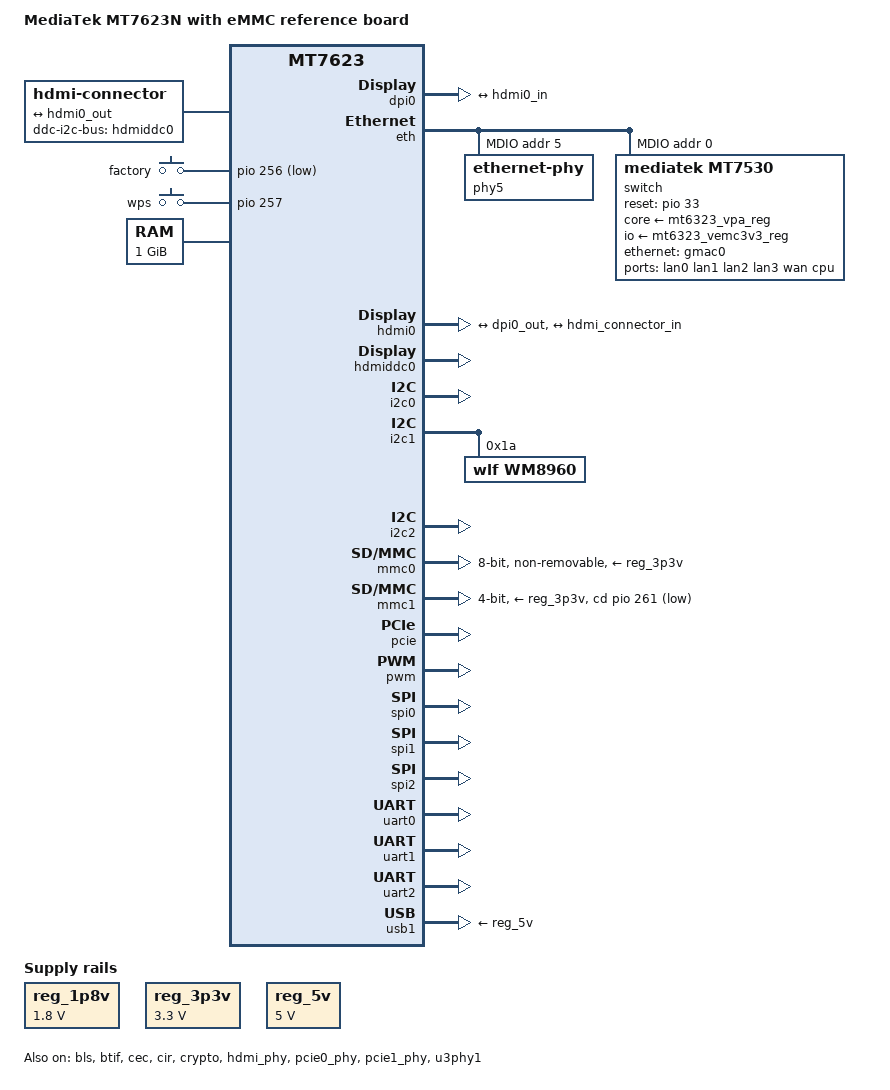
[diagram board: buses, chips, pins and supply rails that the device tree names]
// SPDX-License-Identifier: GPL-2.0
/*
 * Copyright (c) 2017-2018 MediaTek Inc.
 * Author: Sean Wang <sean.wang@mediatek.com>
 *
 */

/dts-v1/;
#include <dt-bindings/input/input.h>
#include "mt7623n.dtsi"
#include "mt6323.dtsi"

/ {
	model = "MediaTek MT7623N with eMMC reference board";
	compatible = "mediatek,mt7623n-rfb-emmc", "mediatek,mt7623";

	aliases {
		serial0 = &uart0;
		serial1 = &uart1;
		serial2 = &uart2;
	};

	chosen {
		stdout-path = "serial2:115200n8";
	};

	connector {
		compatible = "hdmi-connector";
		label = "hdmi";
		type = "d";
		ddc-i2c-bus = <&hdmiddc0>;

		port {
			hdmi_connector_in: endpoint {
				remote-endpoint = <&hdmi0_out>;
			};
		};
	};

	cpus {
		cpu@0 {
			proc-supply = <&mt6323_vproc_reg>;
		};

		cpu@1 {
			proc-supply = <&mt6323_vproc_reg>;
		};

		cpu@2 {
			proc-supply = <&mt6323_vproc_reg>;
		};

		cpu@3 {
			proc-supply = <&mt6323_vproc_reg>;
		};
	};

	gpio-keys {
		compatible = "gpio-keys";
		pinctrl-names = "default";
		pinctrl-0 = <&key_pins_a>;

		button-factory {
			label = "factory";
			linux,code = <BTN_0>;
			gpios = <&pio 256 GPIO_ACTIVE_LOW>;
		};

		button-wps {
			label = "wps";
			linux,code = <KEY_WPS_BUTTON>;
			gpios = <&pio 257 GPIO_ACTIVE_HIGH>;
		};
	};

	memory@80000000 {
		device_type = "memory";
		reg = <0 0x80000000 0 0x40000000>;
	};

	reg_1p8v: regulator-1p8v {
		compatible = "regulator-fixed";
		regulator-name = "fixed-1.8V";
		regulator-min-microvolt = <1800000>;
		regulator-max-microvolt = <1800000>;
		regulator-boot-on;
		regulator-always-on;
	};

	reg_3p3v: regulator-3p3v {
		compatible = "regulator-fixed";
		regulator-name = "fixed-3.3V";
		regulator-min-microvolt = <3300000>;
		regulator-max-microvolt = <3300000>;
		regulator-boot-on;
		regulator-always-on;
	};

	reg_5v: regulator-5v {
		compatible = "regulator-fixed";
		regulator-name = "fixed-5V";
		regulator-min-microvolt = <5000000>;
		regulator-max-microvolt = <5000000>;
		regulator-boot-on;
		regulator-always-on;
	};

	sound {
		compatible = "mediatek,mt2701-wm8960-machine";
		mediatek,platform = <&afe>;
		audio-routing =
			"Headphone", "HP_L",
			"Headphone", "HP_R",
			"LINPUT1", "AMIC",
			"RINPUT1", "AMIC";
		mediatek,audio-codec = <&wm8960>;
		pinctrl-names = "default";
		pinctrl-0 = <&i2s0_pins_a>;
	};
};

&bls {
	status = "okay";
};

&btif {
	status = "okay";
};

&cec {
	status = "okay";
};

&cir {
	pinctrl-names = "default";
	pinctrl-0 = <&cir_pins_a>;
	status = "okay";
};

&crypto {
	status = "okay";
};

&dpi0 {
	status = "okay";

	ports {
		#address-cells = <1>;
		#size-cells = <0>;
		port@0 {
			reg = <0>;
			dpi0_out: endpoint {
				remote-endpoint = <&hdmi0_in>;
			};
		};
	};
};

&eth {
	status = "okay";

	gmac0: mac@0 {
		compatible = "mediatek,eth-mac";
		reg = <0>;
		phy-mode = "trgmii";

		fixed-link {
			speed = <1000>;
			full-duplex;
			pause;
		};
	};

	mac@1 {
		compatible = "mediatek,eth-mac";
		reg = <1>;
		phy-mode = "rgmii";
		phy-handle = <&phy5>;
	};

	mdio-bus {
		#address-cells = <1>;
		#size-cells = <0>;

		phy5: ethernet-phy@5 {
			reg = <5>;
			phy-mode = "rgmii-rxid";
		};

		switch@0 {
			compatible = "mediatek,mt7530";
			reg = <0>;
			reset-gpios = <&pio 33 0>;
			core-supply = <&mt6323_vpa_reg>;
			io-supply = <&mt6323_vemc3v3_reg>;

			ports {
				#address-cells = <1>;
				#size-cells = <0>;

				port@0 {
					reg = <0>;
					label = "lan0";
				};

				port@1 {
					reg = <1>;
					label = "lan1";
				};

				port@2 {
					reg = <2>;
					label = "lan2";
				};

				port@3 {
					reg = <3>;
					label = "lan3";
				};

				port@4 {
					reg = <4>;
					label = "wan";
				};

				port@6 {
					reg = <6>;
					label = "cpu";
					ethernet = <&gmac0>;
					phy-mode = "trgmii";

					fixed-link {
						speed = <1000>;
						full-duplex;
					};
				};
			};
		};
	};
};

&hdmi0 {
	pinctrl-names = "default";
	pinctrl-0 = <&hdmi_pins_a>;
	status = "okay";

	ports {
		#address-cells = <1>;
		#size-cells = <0>;
		port@0 {
			reg = <0>;
			hdmi0_in: endpoint {
				remote-endpoint = <&dpi0_out>;
			};
		};

		port@1 {
			reg = <1>;
			hdmi0_out: endpoint {
				remote-endpoint = <&hdmi_connector_in>;
			};
		};
	};
};

&hdmiddc0 {
	pinctrl-names = "default";
	pinctrl-0 = <&hdmi_ddc_pins_a>;
	status = "okay";
};

&hdmi_phy {
	mediatek,ibias = <0xa>;
	mediatek,ibias_up = <0x1c>;
	status = "okay";
};

&i2c0 {
	pinctrl-names = "default";
	pinctrl-0 = <&i2c0_pins_a>;
	status = "okay";
};

&i2c1 {
	pinctrl-names = "default";
	pinctrl-0 = <&i2c1_pins_b>;
	status = "okay";

	wm8960: wm8960@1a {
		compatible = "wlf,wm8960";
		reg = <0x1a>;
	};
};

&i2c2 {
	pinctrl-names = "default";
	pinctrl-0 = <&i2c2_pins_a>;
	status = "okay";
};

&mmc0 {
	pinctrl-names = "default", "state_uhs";
	pinctrl-0 = <&mmc0_pins_default>;
	pinctrl-1 = <&mmc0_pins_uhs>;
	status = "okay";
	bus-width = <8>;
	max-frequency = <50000000>;
	cap-mmc-highspeed;
	vmmc-supply = <&reg_3p3v>;
	vqmmc-supply = <&reg_1p8v>;
	non-removable;
};

&mmc1 {
	pinctrl-names = "default", "state_uhs";
	pinctrl-0 = <&mmc1_pins_default>;
	pinctrl-1 = <&mmc1_pins_uhs>;
	status = "okay";
	bus-width = <4>;
	max-frequency = <50000000>;
	cap-sd-highspeed;
	cd-gpios = <&pio 261 GPIO_ACTIVE_LOW>;
	vmmc-supply = <&reg_3p3v>;
	vqmmc-supply = <&reg_3p3v>;
};

&pcie {
	pinctrl-names = "default";
	pinctrl-0 = <&pcie_default>;
	status = "okay";

	pcie@0,0 {
		status = "okay";
	};

	pcie@1,0 {
		status = "okay";
	};
};

&pcie0_phy {
	status = "okay";
};

&pcie1_phy {
	status = "okay";
};

&pwm {
	pinctrl-names = "default";
	pinctrl-0 = <&pwm_pins_a>;
	status = "okay";
};

&spi0 {
	pinctrl-names = "default";
	pinctrl-0 = <&spi0_pins_a>;
	status = "okay";
};

&spi1 {
	pinctrl-names = "default";
	pinctrl-0 = <&spi1_pins_a>;
	status = "okay";
};

&spi2 {
	pinctrl-names = "default";
	pinctrl-0 = <&spi2_pins_a>;
	status = "okay";
};

&uart0 {
	pinctrl-names = "default";
	pinctrl-0 = <&uart0_pins_a>;
	status = "okay";
};

&uart1 {
	pinctrl-names = "default";
	pinctrl-0 = <&uart1_pins_a>;
	status = "okay";
};

&uart2 {
	pinctrl-names = "default";
	pinctrl-0 = <&uart2_pins_a>;
	status = "okay";
};

&usb1 {
	vusb33-supply = <&reg_3p3v>;
	vbus-supply = <&reg_5v>;
	status = "okay";
};

&u3phy1 {
	status = "okay";
};
